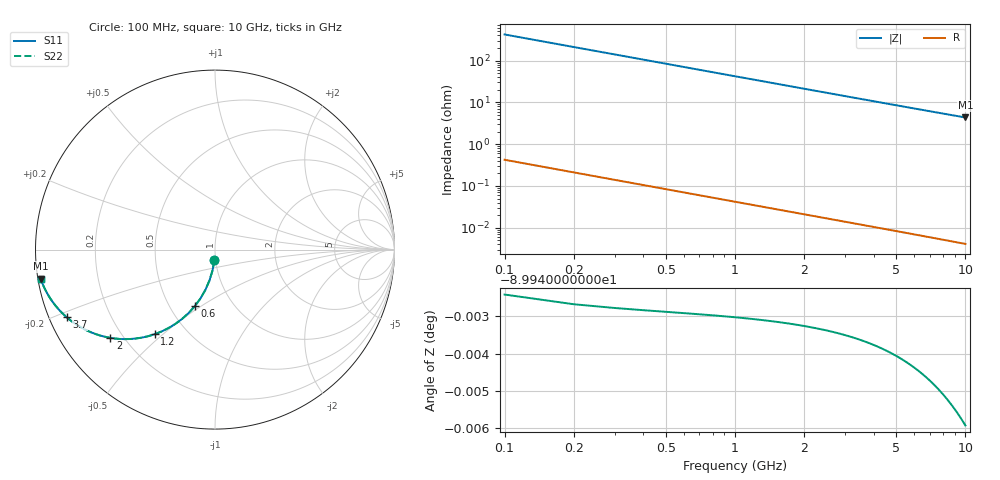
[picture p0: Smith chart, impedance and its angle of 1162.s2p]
# Hz S RI R 50.00
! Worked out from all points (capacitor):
!   100 points, 100 MHz to 10 GHz, reference 50 ohm
!   read as one part in shunt: C = 3.77 pF near 100 MHz
!   lowest |Z| = 4.35 ohm at 10 GHz (marker M1)
!   S11 on the Smith chart (normalised r, x): 100 MHz: 0.99, -0.12; 600 MHz: 0.66, -0.47; 1.2 GHz: 0.33, -0.47; 2 GHz: 0.15, -0.36; 3.7 GHz: 0.05, -0.22; 10 GHz: 0.01, -0.08
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1e8  -0.00355 -0.059  0.9964 -0.0591  0.9964 -0.0591  -0.00355 -0.059
2e8  -0.014 -0.1168  0.986 -0.117  0.986 -0.117  -0.014 -0.1168
3e8  -0.0308 -0.1722  0.9692 -0.1725  0.9692 -0.1725  -0.0308 -0.1722
4e8  -0.0534 -0.2242  0.9466 -0.2246  0.9466 -0.2246  -0.0534 -0.2242
5e8  -0.081 -0.2721  0.919 -0.2725  0.919 -0.2725  -0.081 -0.2721
6e8  -0.1125 -0.3152  0.8875 -0.3157  0.8875 -0.3157  -0.1125 -0.3152
7e8  -0.147 -0.3534  0.853 -0.3539  0.853 -0.3539  -0.147 -0.3534
9e8  -0.2215 -0.4144  0.7785 -0.4151  0.7785 -0.4151  -0.2215 -0.4144
1.2e9  -0.3355 -0.4712  0.6645 -0.4721  0.6645 -0.4721  -0.3355 -0.4712
1.5e9  -0.4406 -0.4954  0.5594 -0.4965  0.5594 -0.4965  -0.4406 -0.4954
1.8e9  -0.531 -0.4978  0.469 -0.4992  0.469 -0.4992  -0.531 -0.4978
2e9  -0.5827 -0.4918  0.4173 -0.4934  0.4173 -0.4934  -0.5827 -0.4918
2.3e9  -0.6484 -0.4761  0.3516 -0.4779  0.3516 -0.4779  -0.6484 -0.4761
2.6e9  -0.7017 -0.456  0.2982 -0.458  0.2982 -0.458  -0.7017 -0.456
3e9  -0.7577 -0.4268  0.2423 -0.4292  0.2423 -0.4292  -0.7577 -0.4268
3.4e9  -0.8004 -0.3979  0.1996 -0.4006  0.1996 -0.4006  -0.8004 -0.3979
3.7e9  -0.8258 -0.3773  0.1741 -0.3802  0.1741 -0.3802  -0.8258 -0.3773
4.3e9  -0.8647 -0.3398  0.1353 -0.3432  0.1353 -0.3432  -0.8647 -0.3398
5.1e9  -0.8997 -0.2979  0.1003 -0.3019  0.1003 -0.3019  -0.8997 -0.2979
6.7e9  -0.9392 -0.2358  0.0608 -0.2412  0.0608 -0.2412  -0.9392 -0.2358
8.4e9  -0.9604 -0.1912  0.0396 -0.1979  0.0396 -0.1979  -0.9604 -0.1912
1e10  -0.9717 -0.1611  0.0282 -0.1692  0.0282 -0.1692  -0.9717 -0.1611
